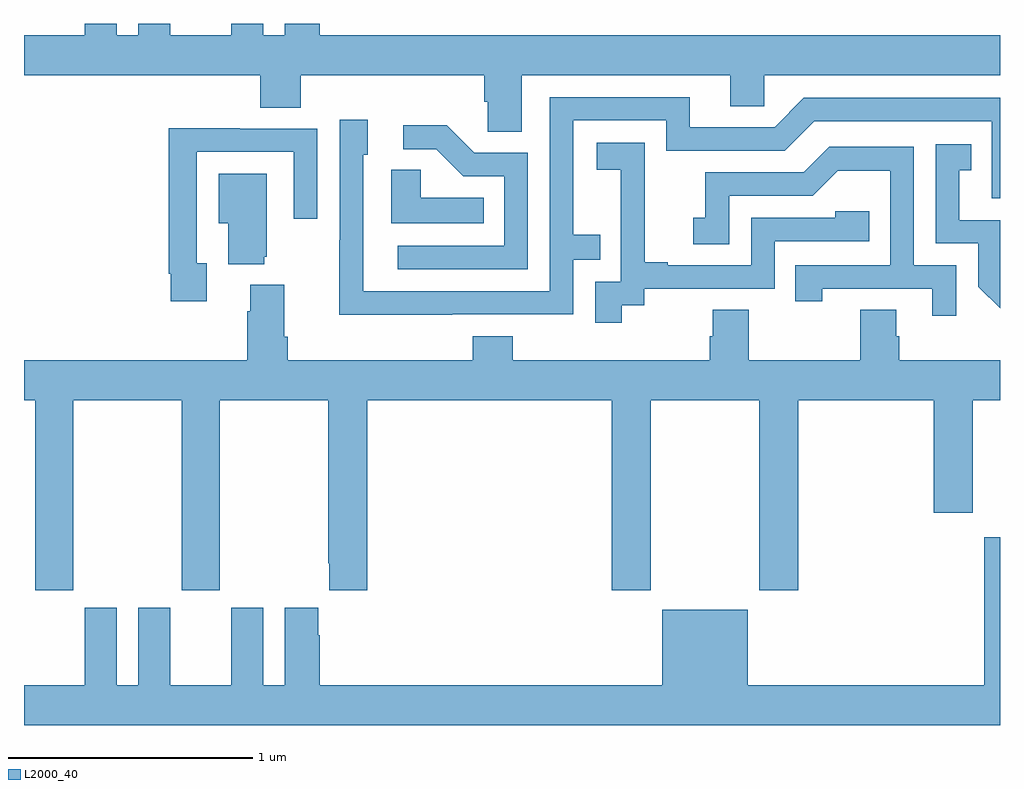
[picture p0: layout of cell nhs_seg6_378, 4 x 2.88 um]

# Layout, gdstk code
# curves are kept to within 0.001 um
import gdstk
lib = gdstk.Library(unit=1e-6, precision=1e-09)
def P(c, l, *ps):  # polygons
    for p in ps: c.add(gdstk.Polygon(p, *l))
L2000_40 = (2000, 40)

nhs_seg6_378 = lib.new_cell('nhs_seg6_378')
P(nhs_seg6_378, L2000_40, [(132.212,995.5),(132.068,995.5),(132.068,995.452),(131.98,995.452),(131.98,995.5),(131.849,995.5),(131.849,995.452),(131.599,995.452),(131.599,995.5),(131.468,995.5),(131.468,995.452),(131.38,995.452),(131.38,995.5),(131.249,995.5),(131.249,995.452),(131,995.452),(131,995.288),(131.969,995.288),(131.969,995.155),(132.134,995.155),(132.134,995.288),(132.887,995.288),(132.887,995.179),(132.9,995.179),(132.9,995.056),(133.039,995.056),(133.039,995.288),(133.895,995.288),(133.895,995.161),(134.034,995.161),(134.034,995.288),(135,995.288),(135,995.452),(132.212,995.452)],
  [(132.755,994.308),(133.251,994.308),(133.251,994.533),(133.361,994.533),(133.361,994.634),(133.251,994.634),(133.251,995.103),(133.632,995.103),(133.632,994.98),(134.118,994.98),(134.238,995.1),(134.967,995.1),(134.967,994.785),(135,994.785),(135,995.196),(134.196,995.196),(134.076,995.076),(133.729,995.076),(133.729,995.199),(133.155,995.199),(133.155,994.404),(132.39,994.404),(132.39,994.962),(132.409,994.962),(132.409,995.107),(132.294,995.107),(132.294,994.613),(132.292,994.613),(132.292,994.307)],
  [(133.065,994.971),(132.846,994.971),(132.733,995.084),(132.555,995.084),(132.555,994.986),(132.689,994.986),(132.8,994.875),(132.969,994.875),(132.969,994.59),(132.531,994.59),(132.531,994.494),(133.065,994.494)],
  [(131.749,994.518),(131.709,994.518),(131.709,994.974),(132.105,994.974),(132.105,994.701),(132.201,994.701),(132.201,995.07),(131.885,995.07),(131.885,995.072),(131.593,995.072),(131.593,994.474),(131.601,994.474),(131.601,994.362),(131.749,994.362)],
  [(133.45,994.345),(133.542,994.345),(133.542,994.413),(134.076,994.413),(134.076,994.608),(134.465,994.608),(134.465,994.731),(134.325,994.731),(134.325,994.704),(133.98,994.704),(133.98,994.509),(133.639,994.509),(133.639,994.522),(133.544,994.522),(133.544,994.805),(133.545,994.805),(133.545,995.011),(133.347,995.011),(133.347,994.901),(133.445,994.901),(133.445,994.673),(133.446,994.673),(133.446,994.443),(133.341,994.443),(133.341,994.275),(133.45,994.275)],
  [(135,994.695),(134.833,994.695),(134.833,994.899),(134.882,994.899),(134.882,995.005),(134.736,995.005),(134.736,994.599),(134.91,994.599),(134.91,994.422),(135,994.333)],
  [(134.82,994.509),(134.646,994.509),(134.646,994.995),(134.3,994.995),(134.195,994.89),(133.792,994.89),(133.792,994.705),(133.743,994.705),(133.743,994.596),(133.89,994.596),(133.89,994.794),(134.232,994.794),(134.336,994.898),(134.55,994.898),(134.55,994.509),(134.161,994.509),(134.161,994.362),(134.272,994.362),(134.272,994.413),(134.723,994.413),(134.723,994.302),(134.82,994.302)],
  [(132.884,994.786),(132.627,994.786),(132.627,994.901),(132.506,994.901),(132.506,994.682),(132.884,994.682)],
  [(131.984,994.545),(131.995,994.545),(131.995,994.885),(131.798,994.885),(131.798,994.682),(131.837,994.682),(131.837,994.514),(131.984,994.514)],
  [(131.202,993.956),(131.647,993.956),(131.647,993.177),(131.802,993.177),(131.802,993.956),(132.247,993.956),(132.247,993.289),(132.251,993.289),(132.251,993.177),(132.407,993.177),(132.407,993.956),(133.409,993.956),(133.409,993.177),(133.569,993.177),(133.569,993.956),(134.014,993.956),(134.014,993.177),(134.174,993.177),(134.174,993.956),(134.729,993.956),(134.729,993.495),(134.889,993.495),(134.889,993.956),(135,993.956),(135,994.12),(134.588,994.12),(134.588,994.218),(134.575,994.218),(134.575,994.328),(134.428,994.328),(134.428,994.12),(133.971,994.12),(133.971,994.328),(133.823,994.328),(133.823,994.218),(133.811,994.218),(133.811,994.12),(133.004,994.12),(133.004,994.219),(132.839,994.219),(132.839,994.12),(132.08,994.12),(132.08,994.216),(132.067,994.216),(132.067,994.429),(131.927,994.429),(131.927,994.322),(131.915,994.322),(131.915,994.12),(131,994.12),(131,993.956),(131.047,993.956),(131.047,993.177),(131.202,993.177)],
  [(135,993.394),(134.936,993.394),(134.936,992.788),(133.966,992.788),(133.966,993.097),(133.616,993.097),(133.616,992.788),(132.212,992.788),(132.212,992.993),(132.205,992.993),(132.205,993.106),(132.068,993.106),(132.068,992.788),(131.98,992.788),(131.98,993.106),(131.849,993.106),(131.849,992.788),(131.599,992.788),(131.599,993.106),(131.468,993.106),(131.468,992.788),(131.38,992.788),(131.38,993.106),(131.249,993.106),(131.249,992.788),(131,992.788),(131,992.624),(135,992.624)])

lib.write_gds('nhs_seg6_378.gds')
